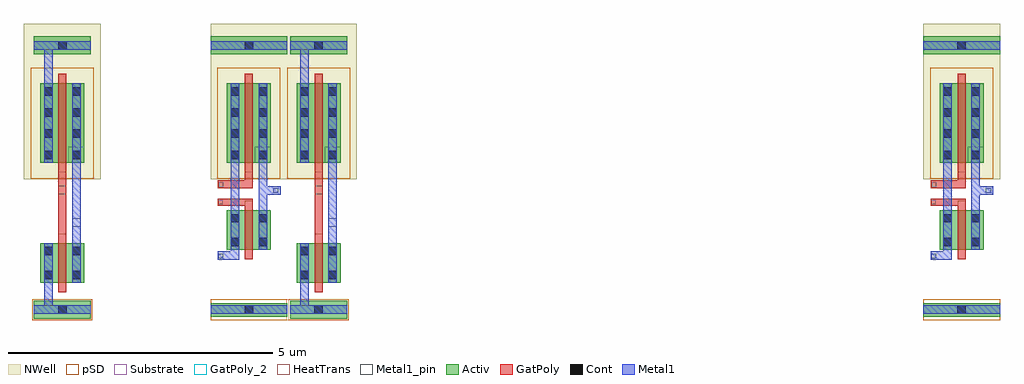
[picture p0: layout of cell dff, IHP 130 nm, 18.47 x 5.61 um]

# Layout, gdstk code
from math import pi, radians
import gdstk
lib = gdstk.Library(unit=1e-6, precision=5e-09)
def R(c, l, rs):  # rectangles x0, y0, x1, y1
    for r in rs: c.add(gdstk.rectangle(r[:2], r[2:], *l))
def A(c, l, x, y, w, h, nx, ny, dx, dy):  # array of equal rectangles
    R(c, l, [(x+i*dx, y+j*dy, x+i*dx+w, y+j*dy+h) for i in range(nx) for j in range(ny)])
Activ = (1, 0)
GatPoly = (5, 0)
GatPoly_2 = (5, 2)
Cont = (6, 0)
Metal1 = (8, 0)
Metal1_pin = (8, 2)
pSD = (14, 0)
NWell = (31, 0)
Substrate = (40, 0)
HeatTrans = (51, 0)

pmos_1 = lib.new_cell('pmos$1')
R(pmos_1, Activ, [(0,0,0.3,0.3), (0,0,0.83,1.5), (0.53,0,0.83,0.3)])
R(pmos_1, GatPoly, [(0.34,-0.18,0.49,1.68), (0.34,-0.18,0.49,1.68)])
A(pmos_1, Cont, 0.07, 0.07, 0.16, 0.16, 1, 4, 0, 0.4)
A(pmos_1, Cont, 0.6, 0.07, 0.16, 0.16, 1, 4, 0, 0.4)
R(pmos_1, Metal1, [(0.07,0,0.23,1.5), (0.07,0,0.23,1.5), (0.6,0,0.76,1.5), (0.6,0,0.76,1.5)])
R(pmos_1, pSD, [(-0.18,-0.3,1.01,1.8)])
R(pmos_1, NWell, [(-0.31,-0.31,1.14,1.81)])
R(pmos_1, Substrate, [(0.53,0,0.83,0.3)])
R(pmos_1, HeatTrans, [(0.34,-0.18,0.49,1.68)])
pmos_1.add(gdstk.Label('pmos', (0.415,0.75), layer=63, texttype=0))
pmos_1.add(gdstk.Label('pmos', (0.415,0.75), layer=51, texttype=0))

nmos_1 = lib.new_cell('nmos$1')
R(nmos_1, Activ, [(0,0,0.3,0.3), (0,0,0.83,0.75), (0.53,0,0.83,0.3)])
R(nmos_1, GatPoly, [(0.34,-0.18,0.49,0.93)])
R(nmos_1, GatPoly_2, [(0.34,-0.18,0.49,0.93)])
R(nmos_1, Cont, [(0.07,0.07,0.23,0.23), (0.6,0.07,0.76,0.23), (0.07,0.52,0.23,0.68), (0.6,0.52,0.76,0.68)])
R(nmos_1, Metal1, [(0.07,0,0.23,0.75), (0.6,0,0.76,0.75)])
R(nmos_1, Metal1_pin, [(0.07,0,0.23,0.75), (0.6,0,0.76,0.75)])
R(nmos_1, HeatTrans, [(0.34,-0.18,0.49,0.93)])
nmos_1.add(gdstk.Label('nmos', (0.415,0.375), layer=63, texttype=0))
nmos_1.add(gdstk.Label('nmos', (0.415,0.375), layer=51, texttype=0))

transmissiongate = lib.new_cell('transmissiongate')
R(transmissiongate, Activ, [(-0.85,-2.74,0.6,-2.485), (-0.85,2.225,0.6,2.565)])
R(transmissiongate, GatPoly, [(-0.715,-0.635,-0.05,-0.505), (-0.715,-0.305,-0.05,-0.16), (-0.2,-0.18,-0.05,0.095)])
R(transmissiongate, GatPoly_2, [(-0.7,-0.615,-0.615,-0.53), (-0.695,-0.285,-0.61,-0.195)])
R(transmissiongate, Cont, [(-0.205,-2.685,-0.045,-2.525), (-0.205,2.315,-0.045,2.475)])
R(transmissiongate, Metal1, [(-0.85,-2.685,0.6,-2.525), (-0.715,-1.66,-0.31,-1.5), (-0.47,-1.51,-0.31,0.4), (0.06,-1.26,0.22,0.41), (0.06,-0.43,0.475,-0.27), (-0.85,2.315,0.6,2.475)])
R(transmissiongate, Metal1_pin, [(-0.85,-2.685,0.6,-2.525), (-0.7,-1.63,-0.605,-1.55), (0.335,-0.395,0.435,-0.31), (-0.85,2.315,0.6,2.475)])
R(transmissiongate, pSD, [(-0.85,-2.805,0.6,-2.405)])
R(transmissiongate, NWell, [(-0.85,1.985,0.6,2.805)])
transmissiongate.add(gdstk.Reference(pmos_1, (-0.54,0.175)))
transmissiongate.add(gdstk.Reference(nmos_1, (0.29,-0.725), rotation=pi))
transmissiongate.add(gdstk.Label('vdd', (-0.125,2.395), layer=6, texttype=0))
transmissiongate.add(gdstk.Label('vss', (-0.125,-2.615), layer=8, texttype=2))
transmissiongate.add(gdstk.Label('d', (-0.675,-1.59), layer=8, texttype=2))
transmissiongate.add(gdstk.Label('out', (0.37,-0.51), layer=8, texttype=2))
transmissiongate.add(gdstk.Label('clk', (-0.68,-0.57), layer=5, texttype=2))
transmissiongate.add(gdstk.Label('clk_b', (-0.675,-0.23), layer=5, texttype=2))

m1_cont1_pmos = lib.new_cell('M1_Cont1_PMOS')
R(m1_cont1_pmos, Activ, [(-0.535,-0.175,0.545,0.165)])
R(m1_cont1_pmos, Cont, [(-0.075,-0.085,0.085,0.075)])
R(m1_cont1_pmos, Metal1, [(-0.535,-0.085,0.545,0.075)])
R(m1_cont1_pmos, Metal1_pin, [(-0.535,-0.085,0.545,0.075)])
R(m1_cont1_pmos, NWell, [(-0.72,-0.415,0.73,0.405)])

m1_bulkcont1_pmos = lib.new_cell('M1_BulkCont1_PMOS')
r = gdstk.Reference(m1_cont1_pmos, (-0.015,-0.015)); r.repetition = gdstk.Repetition(1, 1, v1=(0,0), v2=(0,0)); m1_bulkcont1_pmos.add(r)

m1_cont1_nmos = lib.new_cell('M1_Cont1_NMOS')
R(m1_cont1_nmos, Activ, [(-0.53,-0.175,0.55,0.165)])
R(m1_cont1_nmos, Cont, [(-0.07,-0.085,0.09,0.075)])
R(m1_cont1_nmos, Metal1, [(-0.53,-0.085,0.55,0.075)])
R(m1_cont1_nmos, Metal1_pin, [(-0.53,-0.085,0.55,0.075)])
R(m1_cont1_nmos, pSD, [(-0.56,-0.205,0.58,0.195)])

m1_bulkcont1_nmos = lib.new_cell('M1_BulkCont1_NMOS')
r = gdstk.Reference(m1_cont1_nmos, (0.005,0.01)); r.repetition = gdstk.Repetition(1, 1, v1=(0,0), v2=(0,0)); m1_bulkcont1_nmos.add(r)

nmos = lib.new_cell('nmos')
R(nmos, Activ, [(0,0,0.3,0.3), (0,0,0.83,0.75), (0.53,0,0.83,0.3)])
R(nmos, GatPoly, [(0.34,-0.18,0.49,0.93)])
R(nmos, GatPoly_2, [(0.34,-0.18,0.49,0.93)])
R(nmos, Cont, [(0.07,0.07,0.23,0.23), (0.6,0.07,0.76,0.23), (0.07,0.52,0.23,0.68), (0.6,0.52,0.76,0.68)])
R(nmos, Metal1, [(0.07,0,0.23,0.75), (0.6,0,0.76,0.75)])
R(nmos, Metal1_pin, [(0.07,0,0.23,0.75), (0.6,0,0.76,0.75)])
R(nmos, HeatTrans, [(0.34,-0.18,0.49,0.93)])
nmos.add(gdstk.Label('nmos', (0.415,0.375), layer=63, texttype=0))
nmos.add(gdstk.Label('nmos', (0.415,0.375), layer=51, texttype=0))

pmos_1_1 = lib.new_cell('pmos$1$1')
R(pmos_1_1, Activ, [(0,0,0.3,0.3), (0,0,0.83,1.5), (0.53,0,0.83,0.3)])
R(pmos_1_1, GatPoly, [(0.34,-0.18,0.49,1.68), (0.34,-0.18,0.49,1.68)])
A(pmos_1_1, Cont, 0.07, 0.07, 0.16, 0.16, 1, 4, 0, 0.4)
A(pmos_1_1, Cont, 0.6, 0.07, 0.16, 0.16, 1, 4, 0, 0.4)
R(pmos_1_1, Metal1, [(0.07,0,0.23,1.5), (0.07,0,0.23,1.5), (0.6,0,0.76,1.5), (0.6,0,0.76,1.5)])
R(pmos_1_1, pSD, [(-0.18,-0.3,1.01,1.8)])
R(pmos_1_1, NWell, [(-0.31,-0.31,1.14,1.81)])
R(pmos_1_1, Substrate, [(0.53,0,0.83,0.3)])
R(pmos_1_1, HeatTrans, [(0.34,-0.18,0.49,1.68)])
pmos_1_1.add(gdstk.Label('pmos', (0.415,0.75), layer=63, texttype=0))
pmos_1_1.add(gdstk.Label('pmos', (0.415,0.75), layer=51, texttype=0))

inverter = lib.new_cell('inverter')
R(inverter, GatPoly, [(-0.075,-1.72,0.075,0.805)])
R(inverter, GatPoly_2, [(-0.075,-0.425,0.075,-0.26)])
R(inverter, Cont, [(-0.08,-2.685,0.08,-2.525), (-0.08,2.315,0.08,2.475)])
R(inverter, Metal1, [(-0.345,-2.685,-0.185,-1.72), (0.185,-1.72,0.345,0.805), (-0.345,1.37,-0.185,2.475)])
R(inverter, Metal1_pin, [(-0.08,-2.685,0.08,-2.525), (0.185,-1.035,0.345,-0.875), (-0.08,2.315,0.08,2.475)])
inverter.add(gdstk.Reference(m1_bulkcont1_pmos, (0.01,2.415)))
inverter.add(gdstk.Reference(m1_bulkcont1_nmos, (-0.015,-2.61)))
inverter.add(gdstk.Reference(nmos, (-0.415,-2.095)))
inverter.add(gdstk.Reference(pmos_1_1, (-0.415,0.175)))
inverter.add(gdstk.Label('vdd', (-0.015,2.39), layer=8, texttype=2))
inverter.add(gdstk.Label('vss', (-0.01,-2.62), layer=8, texttype=2))
inverter.add(gdstk.Label('out', (0.27,-0.95), layer=8, texttype=2))
inverter.add(gdstk.Label('in', (-0.025,-0.34), layer=5, texttype=2))

m1_cont1_pmos_1 = lib.new_cell('M1_Cont1_PMOS$1')
R(m1_cont1_pmos_1, Activ, [(-0.535,-0.175,0.545,0.165)])
R(m1_cont1_pmos_1, Cont, [(-0.075,-0.085,0.085,0.075)])
R(m1_cont1_pmos_1, Metal1, [(-0.535,-0.085,0.545,0.075)])
R(m1_cont1_pmos_1, Metal1_pin, [(-0.535,-0.085,0.545,0.075)])
R(m1_cont1_pmos_1, NWell, [(-0.72,-0.415,0.73,0.405)])

m1_bulkcont1_pmos_1 = lib.new_cell('M1_BulkCont1_PMOS$1')
r = gdstk.Reference(m1_cont1_pmos_1, (-0.015,-0.015)); r.repetition = gdstk.Repetition(1, 1, v1=(0,0), v2=(0,0)); m1_bulkcont1_pmos_1.add(r)

m1_cont1_nmos_1 = lib.new_cell('M1_Cont1_NMOS$1')
R(m1_cont1_nmos_1, Activ, [(-0.53,-0.175,0.55,0.165)])
R(m1_cont1_nmos_1, Cont, [(-0.07,-0.085,0.09,0.075)])
R(m1_cont1_nmos_1, Metal1, [(-0.53,-0.085,0.55,0.075)])
R(m1_cont1_nmos_1, Metal1_pin, [(-0.53,-0.085,0.55,0.075)])
R(m1_cont1_nmos_1, pSD, [(-0.56,-0.205,0.58,0.195)])

m1_bulkcont1_nmos_1 = lib.new_cell('M1_BulkCont1_NMOS$1')
r = gdstk.Reference(m1_cont1_nmos_1, (0.005,0.01)); r.repetition = gdstk.Repetition(1, 1, v1=(0,0), v2=(0,0)); m1_bulkcont1_nmos_1.add(r)

nmos_2 = lib.new_cell('nmos$2')
R(nmos_2, Activ, [(0,0,0.3,0.3), (0,0,0.83,0.75), (0.53,0,0.83,0.3)])
R(nmos_2, GatPoly, [(0.34,-0.18,0.49,0.93)])
R(nmos_2, GatPoly_2, [(0.34,-0.18,0.49,0.93)])
R(nmos_2, Cont, [(0.07,0.07,0.23,0.23), (0.6,0.07,0.76,0.23), (0.07,0.52,0.23,0.68), (0.6,0.52,0.76,0.68)])
R(nmos_2, Metal1, [(0.07,0,0.23,0.75), (0.6,0,0.76,0.75)])
R(nmos_2, Metal1_pin, [(0.07,0,0.23,0.75), (0.6,0,0.76,0.75)])
R(nmos_2, HeatTrans, [(0.34,-0.18,0.49,0.93)])
nmos_2.add(gdstk.Label('nmos', (0.415,0.375), layer=63, texttype=0))
nmos_2.add(gdstk.Label('nmos', (0.415,0.375), layer=51, texttype=0))

pmos_1_2 = lib.new_cell('pmos$1$2')
R(pmos_1_2, Activ, [(0,0,0.3,0.3), (0,0,0.83,1.5), (0.53,0,0.83,0.3)])
R(pmos_1_2, GatPoly, [(0.34,-0.18,0.49,1.68), (0.34,-0.18,0.49,1.68)])
A(pmos_1_2, Cont, 0.07, 0.07, 0.16, 0.16, 1, 4, 0, 0.4)
A(pmos_1_2, Cont, 0.6, 0.07, 0.16, 0.16, 1, 4, 0, 0.4)
R(pmos_1_2, Metal1, [(0.07,0,0.23,1.5), (0.07,0,0.23,1.5), (0.6,0,0.76,1.5), (0.6,0,0.76,1.5)])
R(pmos_1_2, pSD, [(-0.18,-0.3,1.01,1.8)])
R(pmos_1_2, NWell, [(-0.31,-0.31,1.14,1.81)])
R(pmos_1_2, Substrate, [(0.53,0,0.83,0.3)])
R(pmos_1_2, HeatTrans, [(0.34,-0.18,0.49,1.68)])
pmos_1_2.add(gdstk.Label('pmos', (0.415,0.75), layer=63, texttype=0))
pmos_1_2.add(gdstk.Label('pmos', (0.415,0.75), layer=51, texttype=0))

inverter_1 = lib.new_cell('inverter$1')
R(inverter_1, GatPoly, [(-0.075,-1.72,0.075,0.805)])
R(inverter_1, GatPoly_2, [(-0.075,-0.425,0.075,-0.26)])
R(inverter_1, Cont, [(-0.08,-2.685,0.08,-2.525), (-0.08,2.315,0.08,2.475)])
R(inverter_1, Metal1, [(-0.345,-2.685,-0.185,-1.72), (0.185,-1.72,0.345,0.805), (-0.345,1.37,-0.185,2.475)])
R(inverter_1, Metal1_pin, [(-0.08,-2.685,0.08,-2.525), (0.185,-1.035,0.345,-0.875), (-0.08,2.315,0.08,2.475)])
inverter_1.add(gdstk.Reference(m1_bulkcont1_pmos_1, (0.01,2.415)))
inverter_1.add(gdstk.Reference(m1_bulkcont1_nmos_1, (-0.015,-2.61)))
inverter_1.add(gdstk.Reference(nmos_2, (-0.415,-2.095)))
inverter_1.add(gdstk.Reference(pmos_1_2, (-0.415,0.175)))
inverter_1.add(gdstk.Label('vdd', (-0.015,2.39), layer=8, texttype=2))
inverter_1.add(gdstk.Label('vss', (-0.01,-2.62), layer=8, texttype=2))
inverter_1.add(gdstk.Label('out', (0.27,-0.95), layer=8, texttype=2))
inverter_1.add(gdstk.Label('in', (-0.025,-0.34), layer=5, texttype=2))

pmos_1_3 = lib.new_cell('pmos$1$3')
R(pmos_1_3, Activ, [(0,0,0.3,0.3), (0,0,0.83,1.5), (0.53,0,0.83,0.3)])
R(pmos_1_3, GatPoly, [(0.34,-0.18,0.49,1.68), (0.34,-0.18,0.49,1.68)])
A(pmos_1_3, Cont, 0.07, 0.07, 0.16, 0.16, 1, 4, 0, 0.4)
A(pmos_1_3, Cont, 0.6, 0.07, 0.16, 0.16, 1, 4, 0, 0.4)
R(pmos_1_3, Metal1, [(0.07,0,0.23,1.5), (0.07,0,0.23,1.5), (0.6,0,0.76,1.5), (0.6,0,0.76,1.5)])
R(pmos_1_3, pSD, [(-0.18,-0.3,1.01,1.8)])
R(pmos_1_3, NWell, [(-0.31,-0.31,1.14,1.81)])
R(pmos_1_3, Substrate, [(0.53,0,0.83,0.3)])
R(pmos_1_3, HeatTrans, [(0.34,-0.18,0.49,1.68)])
pmos_1_3.add(gdstk.Label('pmos', (0.415,0.75), layer=63, texttype=0))
pmos_1_3.add(gdstk.Label('pmos', (0.415,0.75), layer=51, texttype=0))

nmos_1_1 = lib.new_cell('nmos$1$1')
R(nmos_1_1, Activ, [(0,0,0.3,0.3), (0,0,0.83,0.75), (0.53,0,0.83,0.3)])
R(nmos_1_1, GatPoly, [(0.34,-0.18,0.49,0.93)])
R(nmos_1_1, GatPoly_2, [(0.34,-0.18,0.49,0.93)])
R(nmos_1_1, Cont, [(0.07,0.07,0.23,0.23), (0.6,0.07,0.76,0.23), (0.07,0.52,0.23,0.68), (0.6,0.52,0.76,0.68)])
R(nmos_1_1, Metal1, [(0.07,0,0.23,0.75), (0.6,0,0.76,0.75)])
R(nmos_1_1, Metal1_pin, [(0.07,0,0.23,0.75), (0.6,0,0.76,0.75)])
R(nmos_1_1, HeatTrans, [(0.34,-0.18,0.49,0.93)])
nmos_1_1.add(gdstk.Label('nmos', (0.415,0.375), layer=63, texttype=0))
nmos_1_1.add(gdstk.Label('nmos', (0.415,0.375), layer=51, texttype=0))

transmissiongate_1 = lib.new_cell('transmissiongate$1')
R(transmissiongate_1, Activ, [(-0.85,-2.74,0.6,-2.485), (-0.85,2.225,0.6,2.565)])
R(transmissiongate_1, GatPoly, [(-0.715,-0.635,-0.05,-0.505), (-0.715,-0.305,-0.05,-0.16), (-0.2,-0.18,-0.05,0.095)])
R(transmissiongate_1, GatPoly_2, [(-0.7,-0.615,-0.615,-0.53), (-0.695,-0.285,-0.61,-0.195)])
R(transmissiongate_1, Cont, [(-0.205,-2.685,-0.045,-2.525), (-0.205,2.315,-0.045,2.475)])
R(transmissiongate_1, Metal1, [(-0.85,-2.685,0.6,-2.525), (-0.715,-1.66,-0.31,-1.5), (-0.47,-1.51,-0.31,0.4), (0.06,-1.26,0.22,0.41), (0.06,-0.43,0.475,-0.27), (-0.85,2.315,0.6,2.475)])
R(transmissiongate_1, Metal1_pin, [(-0.85,-2.685,0.6,-2.525), (-0.7,-1.63,-0.605,-1.55), (0.335,-0.395,0.435,-0.31), (-0.85,2.315,0.6,2.475)])
R(transmissiongate_1, pSD, [(-0.85,-2.805,0.6,-2.405)])
R(transmissiongate_1, NWell, [(-0.85,1.985,0.6,2.805)])
transmissiongate_1.add(gdstk.Reference(pmos_1_3, (-0.54,0.175)))
transmissiongate_1.add(gdstk.Reference(nmos_1_1, (0.29,-0.725), rotation=pi))
transmissiongate_1.add(gdstk.Label('vdd', (-0.125,2.395), layer=6, texttype=0))
transmissiongate_1.add(gdstk.Label('vss', (-0.125,-2.615), layer=8, texttype=2))
transmissiongate_1.add(gdstk.Label('d', (-0.675,-1.59), layer=8, texttype=2))
transmissiongate_1.add(gdstk.Label('out', (0.37,-0.51), layer=8, texttype=2))
transmissiongate_1.add(gdstk.Label('clk', (-0.68,-0.57), layer=5, texttype=2))
transmissiongate_1.add(gdstk.Label('clk_b', (-0.675,-0.23), layer=5, texttype=2))

dff = lib.new_cell('dff')
dff.add(gdstk.Reference(transmissiongate, (1.94,0)))
dff.add(gdstk.Reference(inverter, (-1.715,0)))
dff.add(gdstk.Reference(inverter_1, (3.135,0)))
dff.add(gdstk.Reference(transmissiongate_1, (15.43,0)))

lib.write_gds('dff.gds')
